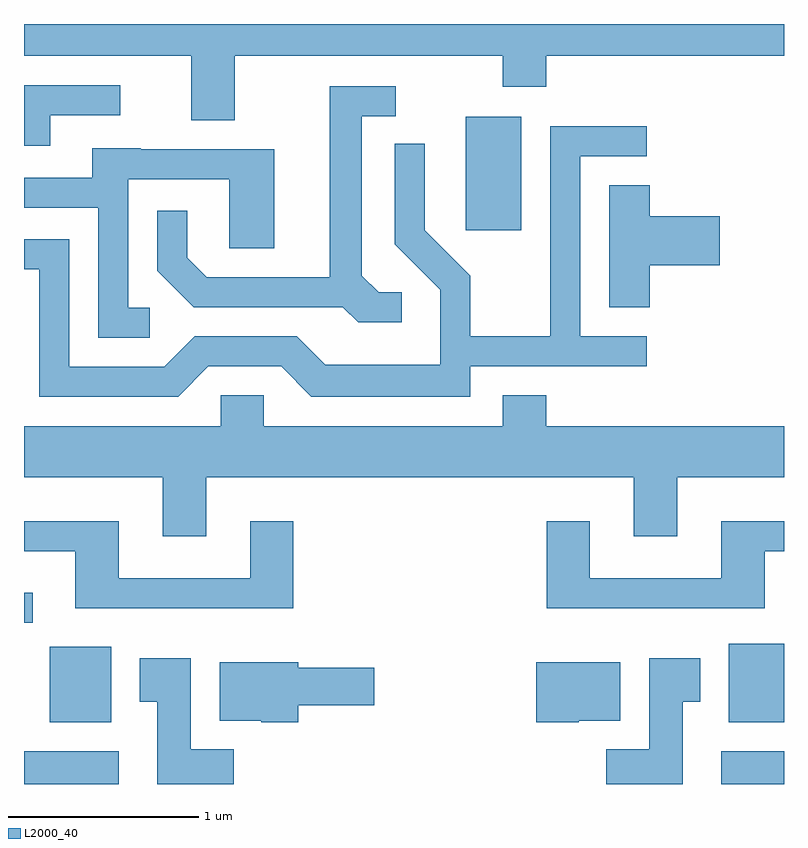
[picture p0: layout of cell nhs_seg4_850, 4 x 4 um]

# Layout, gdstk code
import gdstk
lib = gdstk.Library(unit=1e-6, precision=1e-09)
def R(c, l, rs):  # rectangles x0, y0, x1, y1
    for r in rs: c.add(gdstk.rectangle(r[:2], r[2:], *l))
def P(c, l, *ps):  # polygons
    for p in ps: c.add(gdstk.Polygon(p, *l))
L2000_40 = (2000, 40)

nhs_seg4_850 = lib.new_cell('nhs_seg4_850')
R(nhs_seg4_850, L2000_40, [(209.611,1321.982,210.109,1322.154), (213.281,1321.982,213.611,1322.154), (209.746,1322.306,210.069,1322.704), (213.321,1322.306,213.611,1322.719), (209.611,1322.831,209.658,1322.989), (211.936,1324.896,212.229,1325.494)])
P(nhs_seg4_850, L2000_40, [(210.719,1325.816),(212.131,1325.816),(212.131,1325.651),(212.359,1325.651),(212.359,1325.816),(213.611,1325.816),(213.611,1325.982),(209.611,1325.982),(209.611,1325.816),(210.491,1325.816),(210.491,1325.476),(210.719,1325.476)],
  [(209.749,1325.501),(210.118,1325.501),(210.118,1325.659),(209.611,1325.659),(209.611,1325.341),(209.749,1325.341)],
  [(211.598,1324.569),(211.477,1324.569),(211.389,1324.657),(211.389,1325.496),(211.568,1325.496),(211.568,1325.654),(211.221,1325.654),(211.221,1324.649),(210.572,1324.649),(210.469,1324.752),(210.469,1324.998),(210.311,1324.998),(210.311,1324.684),(210.504,1324.491),(211.289,1324.491),(211.369,1324.411),(211.598,1324.411)],
  [(210.582,1324.181),(210.964,1324.181),(211.124,1324.021),(211.959,1324.021),(211.959,1324.181),(212.888,1324.181),(212.888,1324.339),(212.539,1324.339),(212.539,1325.286),(212.888,1325.286),(212.888,1325.444),(212.381,1325.444),(212.381,1324.339),(211.959,1324.339),(211.959,1324.657),(211.719,1324.897),(211.719,1325.353),(211.561,1325.353),(211.561,1324.824),(211.801,1324.584),(211.801,1324.189),(211.197,1324.189),(211.047,1324.339),(210.509,1324.339),(210.349,1324.179),(209.849,1324.179),(209.849,1324.849),(209.611,1324.849),(209.611,1324.691),(209.691,1324.691),(209.691,1324.021),(210.422,1324.021)],
  [(210.273,1324.489),(210.159,1324.489),(210.159,1325.166),(210.691,1325.166),(210.691,1324.801),(210.929,1324.801),(210.929,1325.324),(210.225,1325.324),(210.225,1325.329),(209.971,1325.329),(209.971,1325.174),(209.611,1325.174),(209.611,1325.016),(210.001,1325.016),(210.001,1324.331),(210.273,1324.331)],
  [(212.904,1324.711),(213.274,1324.711),(213.274,1324.969),(212.904,1324.969),(212.904,1325.134),(212.691,1325.134),(212.691,1324.491),(212.904,1324.491)],
  [(210.569,1323.596),(212.821,1323.596),(212.821,1323.286),(213.049,1323.286),(213.049,1323.596),(213.611,1323.596),(213.611,1323.864),(212.359,1323.864),(212.359,1324.029),(212.131,1324.029),(212.131,1323.864),(210.874,1323.864),(210.874,1324.029),(210.646,1324.029),(210.646,1323.864),(209.611,1323.864),(209.611,1323.596),(210.341,1323.596),(210.341,1323.286),(210.569,1323.286)],
  [(213.509,1323.206),(213.611,1323.206),(213.611,1323.364),(213.281,1323.364),(213.281,1323.064),(212.589,1323.064),(212.589,1323.364),(212.361,1323.364),(212.361,1322.906),(213.509,1322.906)],
  [(211.029,1323.364),(210.801,1323.364),(210.801,1323.064),(210.109,1323.064),(210.109,1323.364),(209.611,1323.364),(209.611,1323.206),(209.881,1323.206),(209.881,1322.906),(211.029,1322.906)],
  [(213.079,1322.416),(213.169,1322.416),(213.169,1322.644),(212.901,1322.644),(212.901,1322.164),(212.676,1322.164),(212.676,1321.982),(213.079,1321.982)],
  [(210.714,1322.164),(210.489,1322.164),(210.489,1322.644),(210.221,1322.644),(210.221,1322.416),(210.311,1322.416),(210.311,1321.982),(210.714,1321.982)],
  [(212.53,1322.316),(212.749,1322.316),(212.749,1322.624),(212.306,1322.624),(212.306,1322.306),(212.53,1322.306)],
  [(211.054,1322.396),(211.454,1322.396),(211.454,1322.594),(211.054,1322.594),(211.054,1322.624),(210.641,1322.624),(210.641,1322.316),(210.86,1322.316),(210.86,1322.306),(211.054,1322.306)])

lib.write_gds('nhs_seg4_850.gds')
